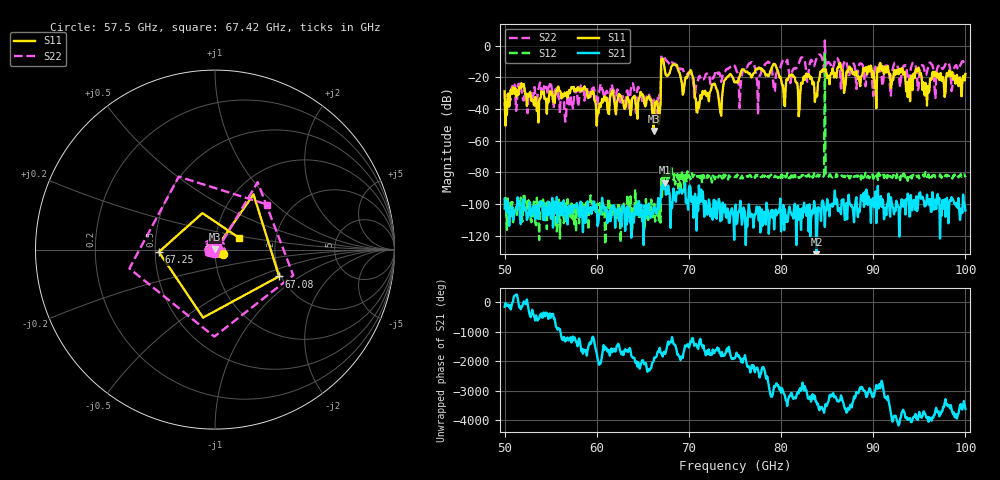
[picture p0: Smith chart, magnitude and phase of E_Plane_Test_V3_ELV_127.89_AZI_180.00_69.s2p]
! 11/26/2026 4:45:50 PM
! C:\ANRITSUVNA\TEMP\TEMP.S2P
! CHANNEL.1
! TR.MEASUREMENT
! RAW.DATA
# HZ S RI R 50.0
! FREQ.HZ  S11RE  S11IM  S21RE  S21IM  S12RE  S12IM  S22RE  S22IM
!; PortSelection: Port_12
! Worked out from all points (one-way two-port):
!   601 points, 50 GHz to 100 GHz, reference 50 ohm
!   highest |S21| = -86.51 dB at 67.42 GHz (marker M1); lowest = -137.0 dB at 83.83 GHz (marker M2)
!   lowest |S11| = -54.0 dB at 66.17 GHz (marker M3), VSWR 1.00, Z = 50.1 + j0.145 ohm
!   |S11| at or under -10 dB: start of sweep to 67 GHz; 67.25 GHz to end of sweep
!   |S22| runs from -48.0 to 3.3 dB; largest |S21 - S12| = 0.59
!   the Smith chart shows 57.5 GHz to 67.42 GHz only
!   S11 on the Smith chart (normalised r, x): 57.5 GHz: 1.09, -0.05; 67.08 GHz: 1.95, -0.68; 67.25 GHz: 0.52, -0.02; 67.42 GHz: 1.29, +0.18
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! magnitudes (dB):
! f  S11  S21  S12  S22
! 50 GHz  -28.9  -97.0  -103.5  -35.8
! 57.5 GHz  -26.1  -102.9  -102.6  -34.6
! 58.42 GHz  -27.1  -104.0  -99.5  -24.7
! 60.17 GHz  -42.8  -112.2  -105.4  -30.4
! 66.17 GHz  -54.0  -102.0  -103.5  -34.0
! 66.67 GHz  -41.5  -96.3  -103.0  -31.6
! 67.08 GHz  -8.3  -88.8  -95.5  -6.8
! 67.25 GHz  -10.1  -86.6  -83.4  -6.2
! 67.42 GHz  -16.6  -86.5  -85.3  -8.3
! 70.25 GHz  -15.9  -98.7  -83.5  -18.8
! 70.92 GHz  -42.3  -96.0  -82.9  -23.1
! 75 GHz  -23.3  -102.9  -83.1  -13.0
! 79.25 GHz  -11.5  -116.1  -83.1  -29.0
! 80.25 GHz  -27.8  -100.7  -84.4  -9.3
! 83.42 GHz  -24.5  -103.8  -83.4  -10.8
! 83.83 GHz  -30.9  -137.0  -82.5  -8.3
! 84.58 GHz  -14.8  -99.1  -82.8  -11.7
! 91.67 GHz  -16.7  -93.5  -82.5  -15.2
! 93.75 GHz  -32.6  -93.5  -85.4  -21.3
! 94.83 GHz  -15.0  -102.9  -83.1  -28.2
! 95.83 GHz  -37.8  -94.1  -83.0  -16.6
! 100 GHz  -18.0  -104.3  -83.2  -12.6
